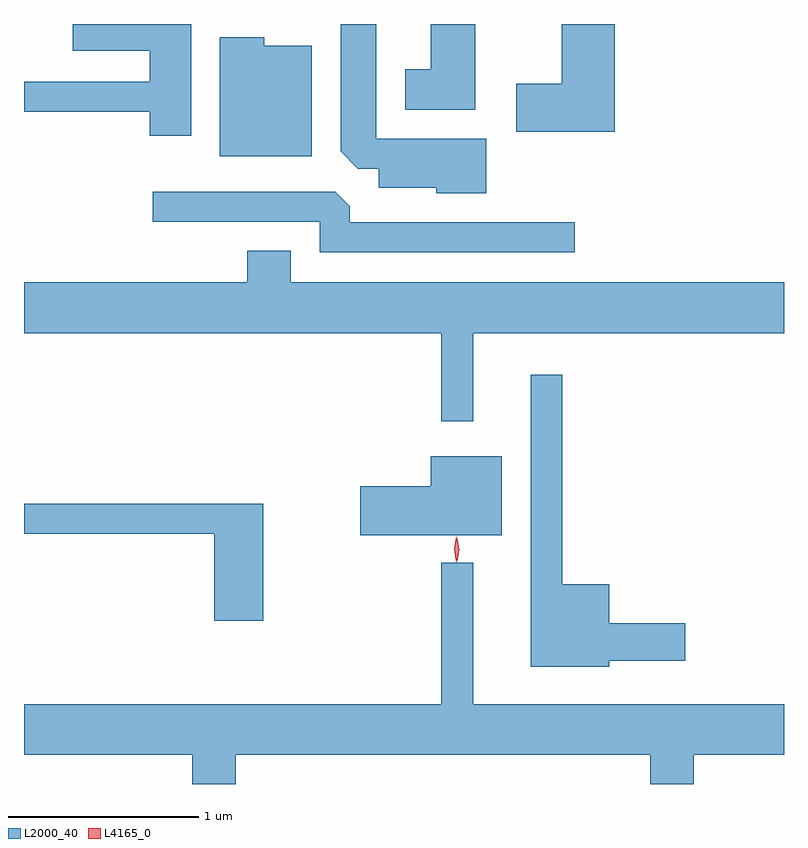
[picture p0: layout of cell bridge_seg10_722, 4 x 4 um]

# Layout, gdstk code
import gdstk
lib = gdstk.Library(unit=1e-6, precision=1e-09)
def P(c, l, *ps):  # polygons
    for p in ps: c.add(gdstk.Polygon(p, *l))
L2000_40 = (2000, 40)
L4165_0 = (4165, 0)

bridge_seg10_722 = lib.new_cell('bridge_seg10_722')
P(bridge_seg10_722, L2000_40, [(525.204,2171.043),(524.581,2171.043),(524.581,2170.901),(524.986,2170.901),(524.986,2170.739),(524.325,2170.739),(524.325,2170.581),(524.986,2170.581),(524.986,2170.456),(525.204,2170.456)],
  [(526.699,2171.043),(526.466,2171.043),(526.466,2170.804),(526.331,2170.804),(526.331,2170.591),(526.699,2170.591)],
  [(527.434,2171.043),(527.156,2171.043),(527.156,2170.729),(526.916,2170.729),(526.916,2170.476),(527.434,2170.476)],
  [(526.759,2170.439),(526.179,2170.439),(526.179,2171.043),(525.991,2171.043),(525.991,2170.372),(526.082,2170.281),(526.191,2170.281),(526.191,2170.181),(526.496,2170.181),(526.496,2170.151),(526.759,2170.151)],
  [(525.839,2170.929),(525.589,2170.929),(525.589,2170.974),(525.356,2170.974),(525.356,2170.346),(525.839,2170.346)],
  [(527.223,2169.999),(526.039,2169.999),(526.039,2170.084),(525.964,2170.159),(525.003,2170.159),(525.003,2170.001),(525.881,2170.001),(525.881,2169.841),(527.223,2169.841)],
  [(526.689,2169.416),(528.325,2169.416),(528.325,2169.684),(525.729,2169.684),(525.729,2169.849),(525.501,2169.849),(525.501,2169.684),(524.325,2169.684),(524.325,2169.416),(526.521,2169.416),(526.521,2168.953),(526.689,2168.953)],
  [(527.404,2167.691),(527.804,2167.691),(527.804,2167.889),(527.404,2167.889),(527.404,2168.094),(527.159,2168.094),(527.159,2169.198),(526.991,2169.198),(526.991,2167.661),(527.404,2167.661)],
  [(526.839,2168.769),(526.466,2168.769),(526.466,2168.609),(526.096,2168.609),(526.096,2168.351),(526.839,2168.351)],
  [(525.584,2168.519),(524.325,2168.519),(524.325,2168.361),(525.326,2168.361),(525.326,2167.901),(525.584,2167.901)],
  [(525.439,2167.196),(527.621,2167.196),(527.621,2167.043),(527.849,2167.043),(527.849,2167.196),(528.325,2167.196),(528.325,2167.464),(526.689,2167.464),(526.689,2168.208),(526.521,2168.208),(526.521,2167.464),(524.325,2167.464),(524.325,2167.196),(525.211,2167.196),(525.211,2167.043),(525.439,2167.043)])
P(bridge_seg10_722, L4165_0, [(526.6,2168.21),(526.6,2168.21),(526.59,2168.278),(526.599,2168.345),(526.6,2168.346),(526.6,2168.345),(526.61,2168.278),(526.601,2168.21)],
  [(526.604,2168.213),(526.595,2168.276),(526.604,2168.34),(526.605,2168.34),(526.606,2168.34),(526.615,2168.276),(526.606,2168.213),(526.605,2168.213)])

lib.write_gds('bridge_seg10_722.gds')
